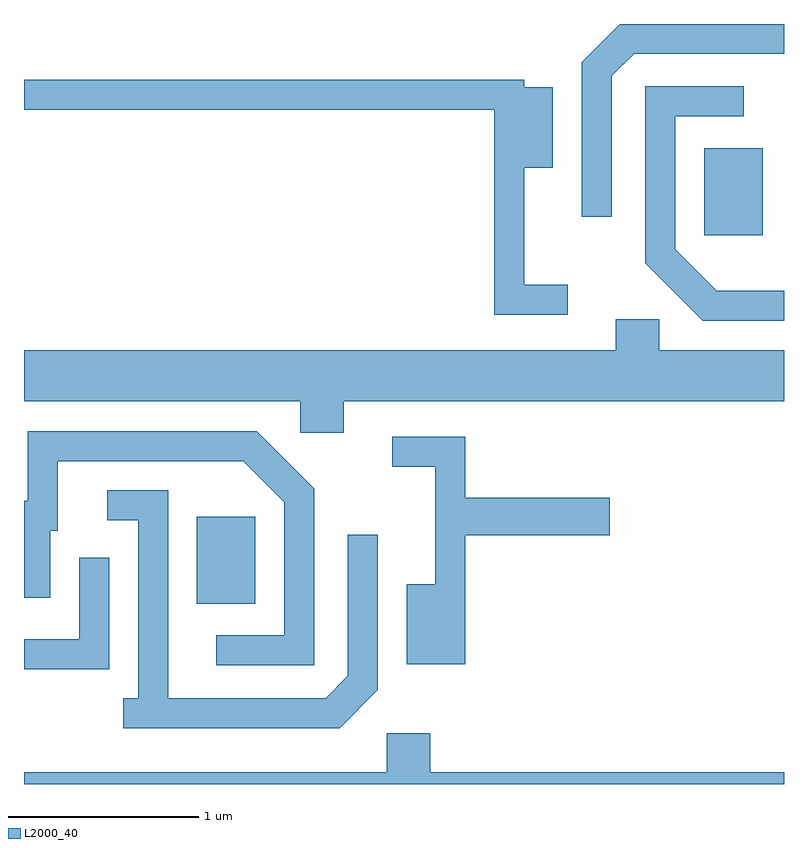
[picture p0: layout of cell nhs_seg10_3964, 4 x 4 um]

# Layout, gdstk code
import gdstk
lib = gdstk.Library(unit=1e-6, precision=1e-09)
def R(c, l, rs):  # rectangles x0, y0, x1, y1
    for r in rs: c.add(gdstk.rectangle(r[:2], r[2:], *l))
def P(c, l, *ps):  # polygons
    for p in ps: c.add(gdstk.Polygon(p, *l))
L2000_40 = (2000, 40)

nhs_seg10_3964 = lib.new_cell('nhs_seg10_3964')
R(nhs_seg10_3964, L2000_40, [(302.521,2159.471,302.829,2159.929), (305.191,2161.411,305.499,2161.869)])
P(nhs_seg10_3964, L2000_40, [(304.704,2162.249),(304.822,2162.366),(305.611,2162.366),(305.611,2162.522),(304.747,2162.522),(304.546,2162.322),(304.546,2161.508),(304.704,2161.508)],
  [(304.473,2161.149),(304.244,2161.149),(304.244,2161.766),(304.394,2161.766),(304.394,2162.189),(304.244,2162.189),(304.244,2162.229),(301.611,2162.229),(301.611,2162.071),(304.086,2162.071),(304.086,2160.991),(304.473,2160.991)],
  [(305.611,2161.119),(305.257,2161.119),(305.039,2161.337),(305.039,2162.036),(305.398,2162.036),(305.398,2162.194),(304.881,2162.194),(304.881,2161.264),(305.184,2160.961),(305.611,2160.961)],
  [(303.294,2160.536),(305.611,2160.536),(305.611,2160.804),(304.954,2160.804),(304.954,2160.969),(304.726,2160.969),(304.726,2160.804),(301.611,2160.804),(301.611,2160.536),(303.066,2160.536),(303.066,2160.371),(303.294,2160.371)],
  [(303.139,2160.077),(302.837,2160.379),(301.631,2160.379),(301.631,2160.014),(301.611,2160.014),(301.611,2159.501),(301.749,2159.501),(301.749,2159.856),(301.789,2159.856),(301.789,2160.221),(302.764,2160.221),(302.981,2160.004),(302.981,2159.304),(302.623,2159.304),(302.623,2159.146),(303.139,2159.146)],
  [(303.934,2159.831),(304.694,2159.831),(304.694,2160.029),(303.934,2160.029),(303.934,2160.349),(303.548,2160.349),(303.548,2160.191),(303.776,2160.191),(303.776,2159.574),(303.626,2159.574),(303.626,2159.151),(303.934,2159.151)],
  [(303.474,2159.019),(303.474,2159.833),(303.316,2159.833),(303.316,2159.092),(303.199,2158.974),(302.369,2158.974),(302.369,2160.069),(302.048,2160.069),(302.048,2159.911),(302.211,2159.911),(302.211,2158.974),(302.133,2158.974),(302.133,2158.816),(303.272,2158.816)],
  [(302.059,2159.713),(301.901,2159.713),(301.901,2159.284),(301.611,2159.284),(301.611,2159.126),(302.059,2159.126)],
  [(305.611,2158.584),(303.749,2158.584),(303.749,2158.789),(303.521,2158.789),(303.521,2158.584),(301.611,2158.584),(301.611,2158.522),(305.611,2158.522)])

lib.write_gds('nhs_seg10_3964.gds')
